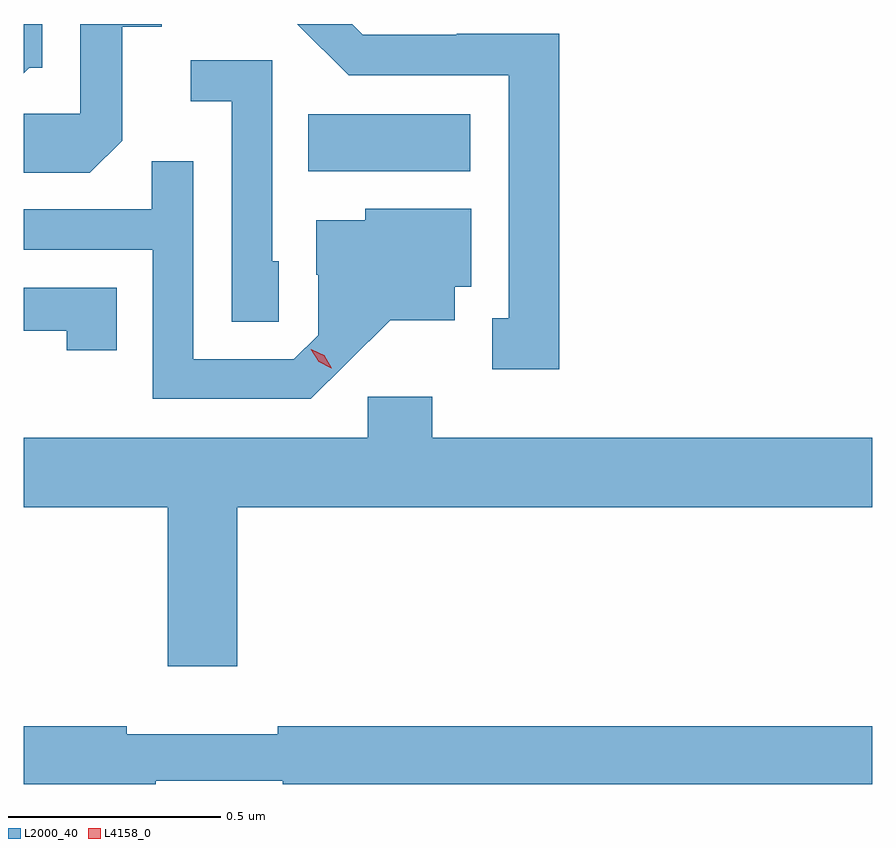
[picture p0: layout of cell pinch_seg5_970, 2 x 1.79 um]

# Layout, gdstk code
import gdstk
lib = gdstk.Library(unit=1e-6, precision=1e-09)
def R(c, l, rs):  # rectangles x0, y0, x1, y1
    for r in rs: c.add(gdstk.rectangle(r[:2], r[2:], *l))
def P(c, l, *ps):  # polygons
    for p in ps: c.add(gdstk.Polygon(p, *l))
L2000_40 = (2000, 40)
L4158_0 = (4158, 0)

pinch_seg5_970 = lib.new_cell('pinch_seg5_970')
R(pinch_seg5_970, L2000_40, [(704.8,882.86,705.181,882.994)])
P(pinch_seg5_970, L2000_40, [(704.142,883.104),(704.173,883.104),(704.173,883.207),(704.129,883.207),(704.129,883.091)],
  [(704.361,882.932),(704.361,883.2),(704.455,883.2),(704.455,883.207),(704.262,883.207),(704.262,882.996),(704.129,882.996),(704.129,882.856),(704.285,882.856)],
  [(705.391,883.184),(705.15,883.184),(705.15,883.182),(704.928,883.182),(704.903,883.207),(704.774,883.207),(704.895,883.086),(705.272,883.086),(705.272,882.513),(705.233,882.513),(705.233,882.393),(705.391,882.393)],
  [(704.73,882.648),(704.715,882.648),(704.715,883.122),(704.523,883.122),(704.523,883.025),(704.619,883.025),(704.619,882.505),(704.73,882.505)],
  [(704.89,882.407),(704.993,882.509),(705.145,882.509),(705.145,882.588),(705.184,882.588),(705.184,882.772),(704.934,882.772),(704.934,882.745),(704.819,882.745),(704.819,882.616),(704.823,882.616),(704.823,882.474),(704.766,882.417),(704.529,882.417),(704.529,882.884),(704.431,882.884),(704.431,882.771),(704.129,882.771),(704.129,882.675),(704.433,882.675),(704.433,882.324),(704.806,882.324)],
  [(704.348,882.585),(704.129,882.585),(704.129,882.484),(704.23,882.484),(704.23,882.438),(704.348,882.438)],
  [(704.632,882.068),(706.129,882.068),(706.129,882.232),(705.092,882.232),(705.092,882.328),(704.94,882.328),(704.94,882.232),(704.129,882.232),(704.129,882.068),(704.468,882.068),(704.468,881.694),(704.632,881.694)],
  [(704.44,881.424),(704.74,881.424),(704.74,881.416),(706.129,881.416),(706.129,881.552),(704.728,881.552),(704.728,881.533),(704.372,881.533),(704.372,881.552),(704.129,881.552),(704.129,881.416),(704.44,881.416)])
P(pinch_seg5_970, L4158_0, [(704.854,882.396),(704.824,882.411),(704.806,882.441),(704.806,882.441),(704.807,882.441),(704.837,882.426),(704.855,882.396),(704.855,882.396)])

lib.write_gds('pinch_seg5_970.gds')
